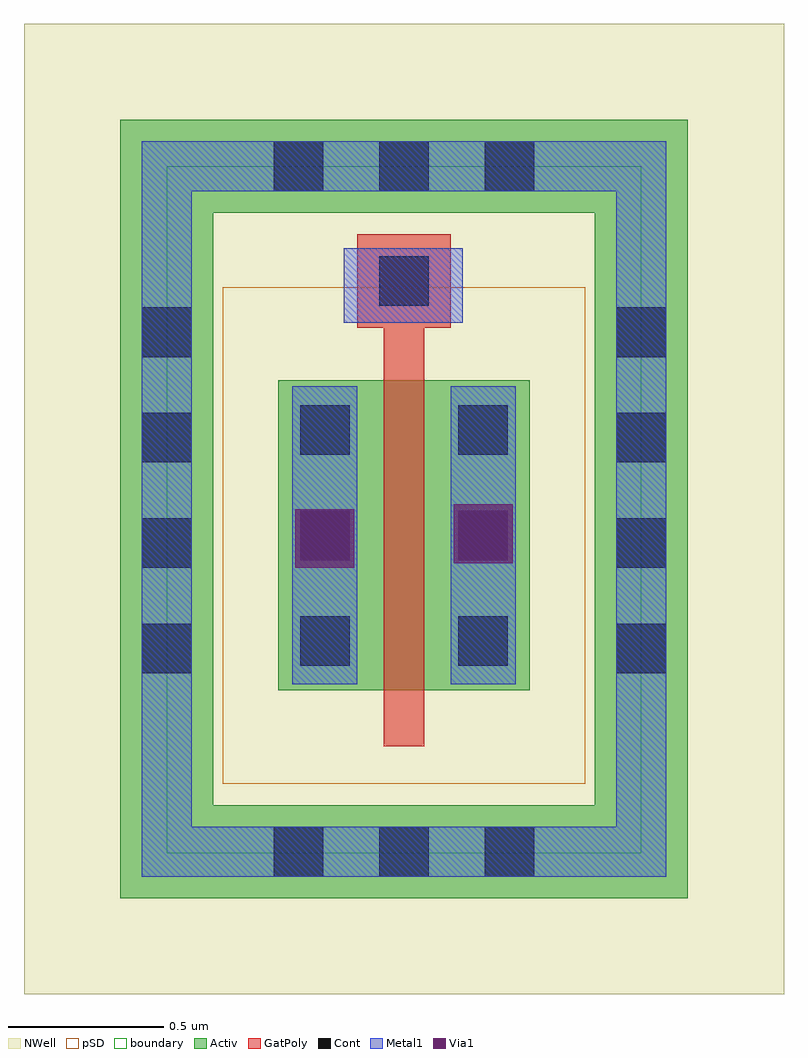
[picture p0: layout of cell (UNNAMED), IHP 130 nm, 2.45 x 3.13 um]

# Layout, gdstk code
import gdstk
lib = gdstk.Library(unit=1e-6, precision=1e-09)
def R(c, l, rs):  # rectangles x0, y0, x1, y1
    for r in rs: c.add(gdstk.rectangle(r[:2], r[2:], *l))
def A(c, l, x, y, w, h, nx, ny, dx, dy):  # array of equal rectangles
    R(c, l, [(x+i*dx, y+j*dy, x+i*dx+w, y+j*dy+h) for i in range(nx) for j in range(ny)])
def P(c, l, *ps):  # polygons
    for p in ps: c.add(gdstk.Polygon(p, *l))
Activ = (1, 0)
GatPoly = (5, 0)
Cont = (6, 0)
Metal1 = (8, 0)
pSD = (14, 0)
Via1 = (19, 0)
NWell = (31, 0)
boundary = (189, 4)

sg13_lv_pmos_85ecum = lib.new_cell('sg13_lv_pmos_85ECUM')
R(sg13_lv_pmos_85ecum, Activ, [(-0.915,-1.015,-0.615,0.895), (0.615,-1.015,0.915,0.895), (-0.405,-0.645,0.405,0.355), (-0.915,0.895,0.915,1.195)])
P(sg13_lv_pmos_85ecum, Activ, [(-0.915,-1.315),(-0.915,-1.015),(0.665,-1.015),(0.915,-1.015),(0.915,-1.315)])
R(sg13_lv_pmos_85ecum, GatPoly, [(-0.065,-0.825,0.065,0.525), (-0.15,0.525,0.15,0.825)])
A(sg13_lv_pmos_85ecum, Cont, -0.42, -1.245, 0.16, 0.16, 3, 2, 0.34, 2.21)
A(sg13_lv_pmos_85ecum, Cont, -0.845, -0.59, 0.16, 0.16, 1, 4, 0, 0.34)
A(sg13_lv_pmos_85ecum, Cont, 0.685, -0.59, 0.16, 0.16, 1, 4, 0, 0.34)
A(sg13_lv_pmos_85ecum, Cont, -0.335, -0.565, 0.16, 0.16, 1, 3, 0, 0.34)
A(sg13_lv_pmos_85ecum, Cont, 0.175, -0.565, 0.16, 0.16, 1, 3, 0, 0.34)
R(sg13_lv_pmos_85ecum, Cont, [(-0.08,0.595,0.08,0.755)])
R(sg13_lv_pmos_85ecum, Metal1, [(-0.845,-1.085,-0.685,0.965), (0.685,-1.085,0.845,0.965), (-0.36,-0.625,-0.15,0.335), (0.15,-0.625,0.36,0.335), (-0.845,0.965,0.845,1.125)])
P(sg13_lv_pmos_85ecum, Metal1, [(-0.845,-1.245),(-0.845,-1.085),(-0.82,-1.085),(0.845,-1.085),(0.845,-1.245)])
R(sg13_lv_pmos_85ecum, pSD, [(-0.585,-0.945,0.585,0.655)])
R(sg13_lv_pmos_85ecum, Via1, [(-0.35,-0.25,-0.16,-0.06), (0.16,-0.235,0.35,-0.045)])
R(sg13_lv_pmos_85ecum, NWell, [(-1.225,-1.625,1.225,1.505)])
R(sg13_lv_pmos_85ecum, boundary, [(-0.765,-1.17,0.765,1.045)])

c__unnamed_ = lib.new_cell('(UNNAMED)')
R(c__unnamed_, Metal1, [(0.57,1.585,0.955,1.825)])
c__unnamed_.add(gdstk.Reference(sg13_lv_pmos_85ecum, (0.765,1.045)))

lib.write_gds('_UNNAMED_.gds')
